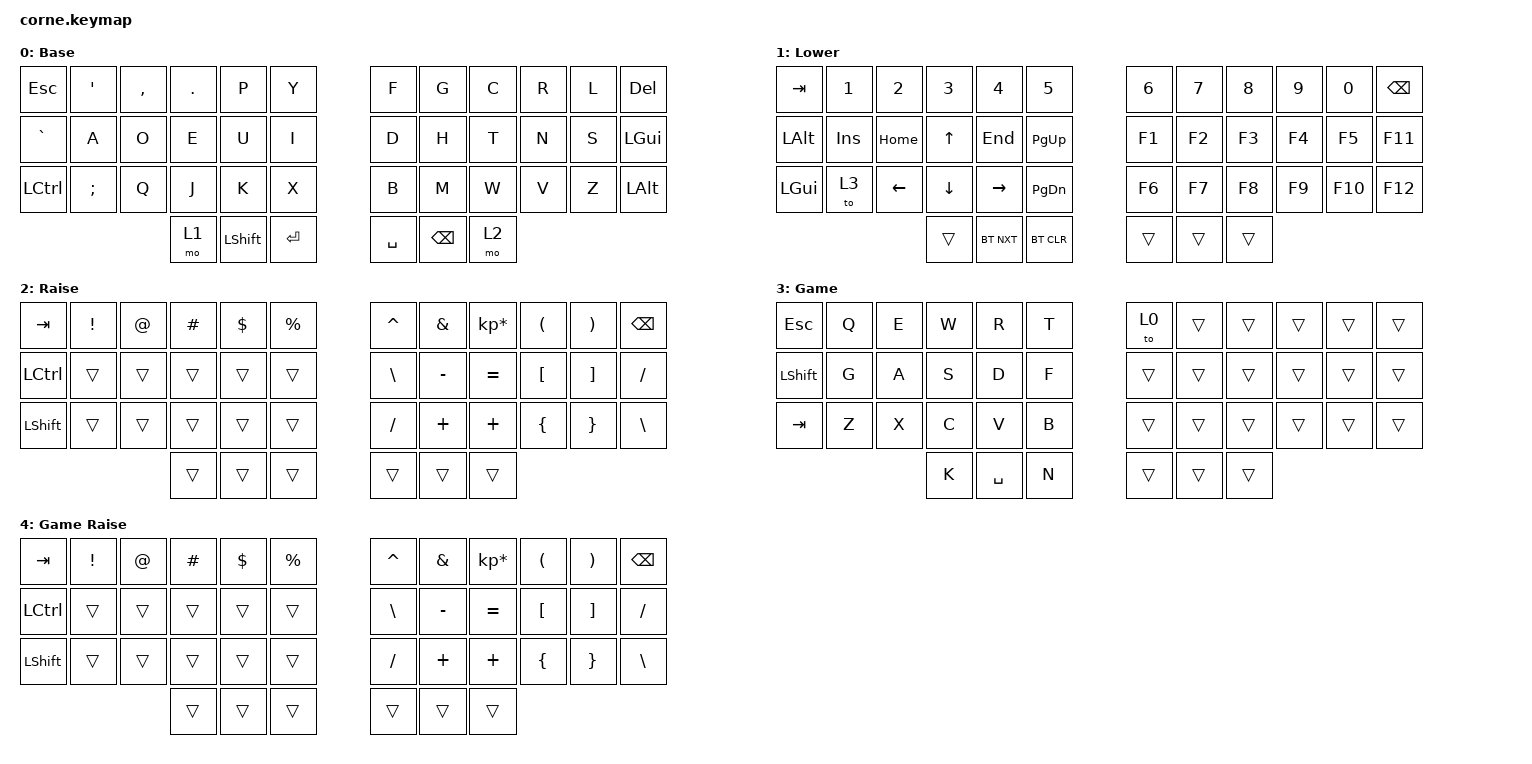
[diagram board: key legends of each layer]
/*
 * Copyright (c) 2020 The ZMK Contributors
 *
 * SPDX-License-Identifier: MIT
 */

#include <behaviors.dtsi>
#include <dt-bindings/zmk/bt.h>
#include <dt-bindings/zmk/keys.h>

/ {
    keymap {
        compatible = "zmk,keymap";

        default_layer {
            // -----------------------------------------------------------------------------------------
            // |  TAB |  Q  |  W  |  E  |  R  |  T  |   |  Y  |  U   |  I  |  O  |  P  | BKSP |
            // | CTRL |  A  |  S  |  D  |  F  |  G  |   |  H  |  J   |  K  |  L  |  ;  |  '   |
            // | SHFT |  Z  |  X  |  C  |  V  |  B  |   |  N  |  M   |  ,  |  .  |  /  | ESC  |
            //                    | GUI | LWR | SPC |   | ENT | RSE  | ALT |

            display-name = "Base";
            bindings = <
&kp ESCAPE        &kp SINGLE_QUOTE  &kp COMMA  &kp PERIOD  &kp P           &kp Y      &kp F      &kp G          &kp C  &kp R  &kp L  &kp DELETE
&kp GRAVE         &kp A             &kp O      &kp E       &kp U           &kp I      &kp D      &kp H          &kp T  &kp N  &kp S  &kp LEFT_GUI
&kp LEFT_CONTROL  &kp SEMICOLON     &kp Q      &kp J       &kp K           &kp X      &kp B      &kp M          &kp W  &kp V  &kp Z  &kp LEFT_ALT
                                               &mo 1       &kp LEFT_SHIFT  &kp RET    &kp SPACE  &kp BACKSPACE  &mo 2
            >;
        };

        lower_layer {
            // -----------------------------------------------------------------------------------------
            // |  TAB |  1  |  2  |  3  |  4  |  5  |   |  6  |  7  |  8  |  9  |  0  | BKSP |
            // | BTCLR| BT1 | BT2 | BT3 | BT4 | BT5 |   | LFT | DWN |  UP | RGT |     |      |
            // | SHFT |     |     |     |     |     |   |     |     |     |     |     |      |
            //                    | GUI |     | SPC |   | ENT |     | ALT |

            display-name = "Lower";
            bindings = <
&kp TAB       &kp N1   &kp N2          &kp N3          &kp N4           &kp N5           &kp N6  &kp N7  &kp N8  &kp N9  &kp N0   &kp BSPC
&kp LEFT_ALT  &kp INS  &kp HOME        &kp UP_ARROW    &kp END          &kp PAGE_UP      &kp F1  &kp F2  &kp F3  &kp F4  &kp F5   &kp F11
&kp LEFT_GUI  &to 3    &kp LEFT_ARROW  &kp DOWN_ARROW  &kp RIGHT_ARROW  &kp PAGE_DOWN    &kp F6  &kp F7  &kp F8  &kp F9  &kp F10  &kp F12
                                       &trans          &bt BT_NXT       &bt BT_CLR       &trans  &trans  &trans
            >;
        };

        raise_layer {
            // -----------------------------------------------------------------------------------------
            // |  TAB |  !  |  @  |  #  |  $  |  %  |   |  ^  |  &  |  *  |  (  |  )  | BKSP |
            // | CTRL |     |     |     |     |     |   |  -  |  =  |  [  |  ]  |  \  |  `   |
            // | SHFT |     |     |     |     |     |   |  _  |  +  |  {  |  }  | "|" |  ~   |
            //                    | GUI |     | SPC |   | ENT |     | ALT |

            display-name = "Raise";
            bindings = <
&kp TAB    &kp EXCL  &kp AT  &kp HASH  &kp DLLR  &kp PRCNT    &kp CARET      &kp AMPS   &kp KP_MULTIPLY  &kp LPAR          &kp RPAR           &kp BSPC
&kp LCTRL  &trans    &trans  &trans    &trans    &trans       &kp BACKSLASH  &kp MINUS  &kp EQUAL        &kp LEFT_BRACKET  &kp RIGHT_BRACKET  &kp SLASH
&kp LSHFT  &trans    &trans  &trans    &trans    &trans       &kp SLASH      &kp PLUS   &kp PLUS         &kp LEFT_BRACE    &kp RIGHT_BRACE    &kp BACKSLASH
                             &trans    &trans    &trans       &trans         &trans     &trans
            >;
        };

        Game {
            // -----------------------------------------------------------------------------------------
            // |  TAB |  !  |  @  |  #  |  $  |  %  |   |  ^  |  &  |  *  |  (  |  )  | BKSP |
            // | CTRL |     |     |     |     |     |   |  -  |  =  |  [  |  ]  |  \  |  `   |
            // | SHFT |     |     |     |     |     |   |  _  |  +  |  {  |  }  | "|" |  ~   |
            //                    | GUI |     | SPC |   | ENT |     | ALT |

            display-name = "Game";
            bindings = <
&kp ESCAPE      &kp Q  &kp E  &kp W  &kp R      &kp T    &to 0   &trans  &trans  &trans  &trans  &trans
&kp LEFT_SHIFT  &kp G  &kp A  &kp S  &kp D      &kp F    &trans  &trans  &trans  &trans  &trans  &trans
&kp TAB         &kp Z  &kp X  &kp C  &kp V      &kp B    &trans  &trans  &trans  &trans  &trans  &trans
                              &kp K  &kp SPACE  &kp N    &trans  &trans  &trans
            >;
        };

        Game_Raise {
            // -----------------------------------------------------------------------------------------
            // |  TAB |  !  |  @  |  #  |  $  |  %  |   |  ^  |  &  |  *  |  (  |  )  | BKSP |
            // | CTRL |     |     |     |     |     |   |  -  |  =  |  [  |  ]  |  \  |  `   |
            // | SHFT |     |     |     |     |     |   |  _  |  +  |  {  |  }  | "|" |  ~   |
            //                    | GUI |     | SPC |   | ENT |     | ALT |

            display-name = "Game Raise";
            bindings = <
&kp TAB    &kp EXCL  &kp AT  &kp HASH  &kp DLLR  &kp PRCNT    &kp CARET      &kp AMPS   &kp KP_MULTIPLY  &kp LPAR          &kp RPAR           &kp BSPC
&kp LCTRL  &trans    &trans  &trans    &trans    &trans       &kp BACKSLASH  &kp MINUS  &kp EQUAL        &kp LEFT_BRACKET  &kp RIGHT_BRACKET  &kp SLASH
&kp LSHFT  &trans    &trans  &trans    &trans    &trans       &kp SLASH      &kp PLUS   &kp PLUS         &kp LEFT_BRACE    &kp RIGHT_BRACE    &kp BACKSLASH
                             &trans    &trans    &trans       &trans         &trans     &trans
            >;
        };
    };
};
